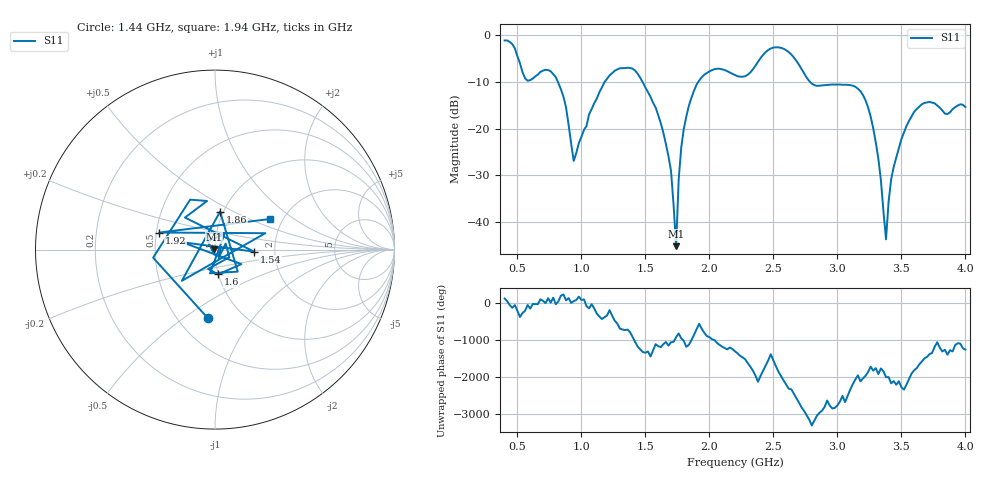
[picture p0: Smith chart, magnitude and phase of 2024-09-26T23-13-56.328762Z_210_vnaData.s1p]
!Created with skrf (http://scikit-rf.org).
# Hz S RI R 50.0
!freq ReS11 ImS11
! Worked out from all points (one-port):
!   181 points, 400 MHz to 4 GHz, reference 50 ohm
!   lowest |S11| = -45.1 dB at 1.74 GHz (marker M1), VSWR 1.01, Z = 49.5 + j0.194 ohm
!   |S11| at or under -10 dB: 815.8 MHz to 1.183 GHz (366.9 MHz wide, 36.7 % of centre); 1.477 GHz to 1.914 GHz (437.5 MHz wide, 25.8 % of centre); 2.786 GHz to end of sweep
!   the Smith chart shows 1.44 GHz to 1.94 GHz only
!   S11 on the Smith chart (normalised r, x): 1.44 GHz: 0.69, -0.62; 1.54 GHz: 1.56, -0.04; 1.6 GHz: 1.00, -0.28; 1.86 GHz: 0.96, +0.43; 1.92 GHz: 0.52, +0.11; 1.94 GHz: 1.73, +0.67
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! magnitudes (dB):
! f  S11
! 400 MHz  -1.2
! 560 MHz  -9.3
! 740 MHz  -7.5
! 860 MHz  -13.2
! 940 MHz  -26.9
! 1.14 GHz  -12.3
! 1.3 GHz  -7.1
! 1.44 GHz  -8.3
! 1.54 GHz  -13.2
! 1.6 GHz  -17.1
! 1.7 GHz  -29.0
! 1.74 GHz  -45.1
! 1.76 GHz  -30.9
! 1.8 GHz  -20.1
! 1.86 GHz  -13.4
! 1.92 GHz  -9.8
! 1.94 GHz  -9.1
! 2.2 GHz  -8.6
! 2.5 GHz  -2.7
! 2.66 GHz  -4.8
! 2.82 GHz  -10.7
! 3.1 GHz  -10.7
! 3.26 GHz  -17.5
! 3.32 GHz  -26.5
! 3.38 GHz  -43.7
! 3.42 GHz  -30.9
! 3.56 GHz  -18.4
! 4 GHz  -15.4
